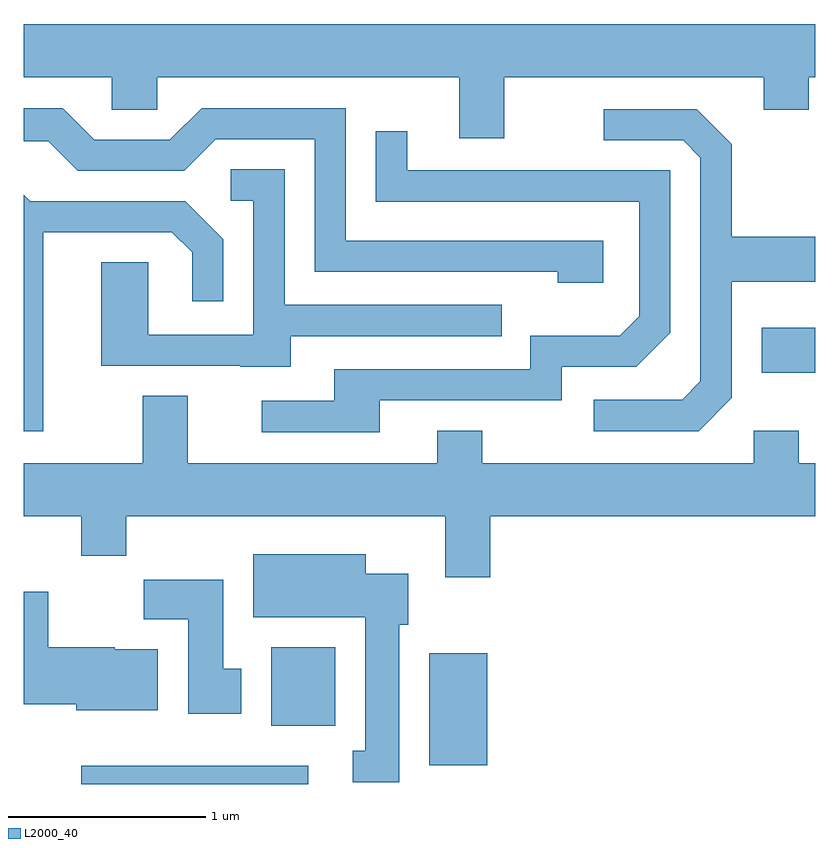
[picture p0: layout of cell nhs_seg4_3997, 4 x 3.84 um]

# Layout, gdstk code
import gdstk
lib = gdstk.Library(unit=1e-6, precision=1e-09)
def R(c, l, rs):  # rectangles x0, y0, x1, y1
    for r in rs: c.add(gdstk.rectangle(r[:2], r[2:], *l))
def P(c, l, *ps):  # polygons
    for p in ps: c.add(gdstk.Polygon(p, *l))
L2000_40 = (2000, 40)

nhs_seg4_3997 = lib.new_cell('nhs_seg4_3997')
R(nhs_seg4_3997, L2000_40, [(301.901,1359.982,303.049,1360.074), (303.661,1360.076,303.954,1360.644), (302.861,1360.276,303.184,1360.674), (305.341,1362.061,305.611,1362.289)])
P(nhs_seg4_3997, L2000_40, [(304.039,1363.556),(305.351,1363.556),(305.351,1363.391),(305.579,1363.391),(305.579,1363.556),(305.611,1363.556),(305.611,1363.824),(301.611,1363.824),(301.611,1363.556),(302.056,1363.556),(302.056,1363.391),(302.284,1363.391),(302.284,1363.556),(303.811,1363.556),(303.811,1363.246),(304.039,1363.246)],
  [(304.539,1362.729),(303.239,1362.729),(303.239,1363.399),(302.509,1363.399),(302.349,1363.239),(301.967,1363.239),(301.807,1363.399),(301.611,1363.399),(301.611,1363.231),(301.734,1363.231),(301.884,1363.081),(302.422,1363.081),(302.582,1363.241),(303.081,1363.241),(303.081,1362.571),(304.311,1362.571),(304.311,1362.516),(304.539,1362.516)],
  [(305.189,1361.934),(305.189,1362.521),(305.611,1362.521),(305.611,1362.749),(305.189,1362.749),(305.189,1363.217),(305.012,1363.394),(304.543,1363.394),(304.543,1363.236),(304.944,1363.236),(305.031,1363.149),(305.031,1362.017),(304.939,1361.924),(304.493,1361.924),(304.493,1361.766),(305.022,1361.766)],
  [(303.409,1361.921),(304.329,1361.921),(304.329,1362.091),(304.707,1362.091),(304.879,1362.264),(304.879,1363.084),(303.549,1363.084),(303.549,1363.283),(303.391,1363.283),(303.391,1362.926),(304.721,1362.926),(304.721,1362.347),(304.624,1362.249),(304.171,1362.249),(304.171,1362.079),(303.181,1362.079),(303.181,1361.919),(302.813,1361.919),(302.813,1361.761),(303.409,1361.761)],
  [(302.959,1362.246),(304.028,1362.246),(304.028,1362.404),(302.929,1362.404),(302.929,1363.089),(302.658,1363.089),(302.658,1362.931),(302.771,1362.931),(302.771,1362.254),(302.239,1362.254),(302.239,1362.619),(302.001,1362.619),(302.001,1362.096),(302.705,1362.096),(302.705,1362.091),(302.959,1362.091)],
  [(301.709,1362.771),(302.359,1362.771),(302.461,1362.669),(302.461,1362.423),(302.619,1362.423),(302.619,1362.737),(302.427,1362.929),(301.642,1362.929),(301.611,1362.96),(301.611,1361.766),(301.709,1361.766)],
  [(303.969,1361.336),(305.611,1361.336),(305.611,1361.604),(305.529,1361.604),(305.529,1361.769),(305.301,1361.769),(305.301,1361.604),(303.929,1361.604),(303.929,1361.769),(303.701,1361.769),(303.701,1361.604),(302.439,1361.604),(302.439,1361.944),(302.211,1361.944),(302.211,1361.604),(301.611,1361.604),(301.611,1361.336),(301.901,1361.336),(301.901,1361.136),(302.129,1361.136),(302.129,1361.336),(303.741,1361.336),(303.741,1361.026),(303.969,1361.026)],
  [(303.509,1360.786),(303.554,1360.786),(303.554,1361.044),(303.339,1361.044),(303.339,1361.144),(302.771,1361.144),(302.771,1360.826),(303.336,1360.826),(303.336,1360.149),(303.273,1360.149),(303.273,1359.991),(303.509,1359.991)],
  [(302.709,1360.564),(302.619,1360.564),(302.619,1361.014),(302.216,1361.014),(302.216,1360.816),(302.441,1360.816),(302.441,1360.336),(302.709,1360.336)],
  [(302.289,1360.664),(302.07,1360.664),(302.07,1360.674),(301.734,1360.674),(301.734,1360.954),(301.611,1360.954),(301.611,1360.386),(301.876,1360.386),(301.876,1360.356),(302.289,1360.356)])

lib.write_gds('nhs_seg4_3997.gds')
